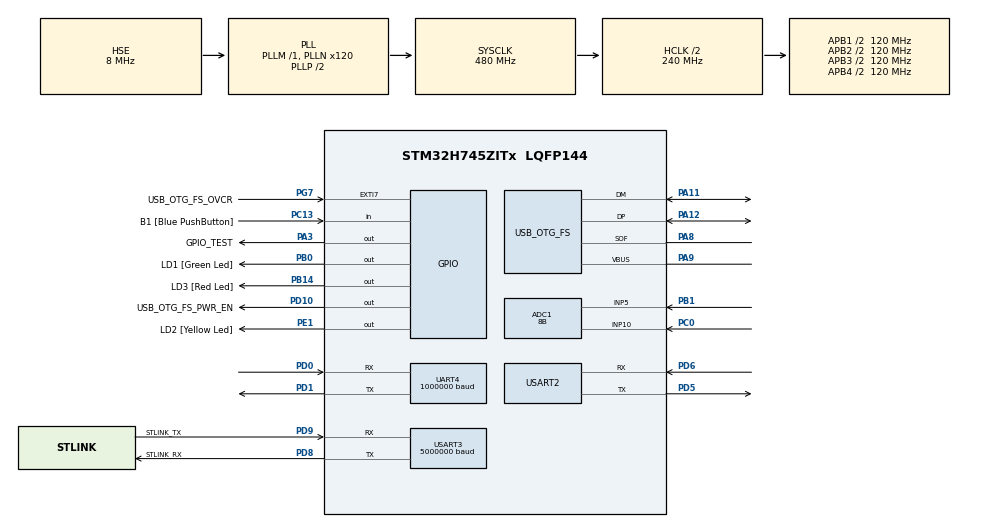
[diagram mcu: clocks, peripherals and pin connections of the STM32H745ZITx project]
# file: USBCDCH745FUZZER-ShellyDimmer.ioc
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ADC1.Channel-0\#ChannelRegularConversion=ADC_CHANNEL_10
ADC1.Channel-1\#ChannelRegularConversion=ADC_CHANNEL_5
ADC1.ClockPrescaler=ADC_CLOCK_ASYNC_DIV8
ADC1.ContinuousConvMode=ENABLE
ADC1.ConversionDataManagement=ADC_CONVERSIONDATA_DMA_ONESHOT
ADC1.NbrOfConversion=2
ADC1.NbrOfConversionFlag=1
ADC1.OffsetNumber-0\#ChannelRegularConversion=ADC_OFFSET_NONE
ADC1.OffsetNumber-1\#ChannelRegularConversion=ADC_OFFSET_NONE
ADC1.OffsetSignedSaturation-0\#ChannelRegularConversion=DISABLE
ADC1.Rank-0\#ChannelRegularConversion=1
ADC1.Rank-1\#ChannelRegularConversion=2
ADC1.Resolution=ADC_RESOLUTION_8B
ADC1.SamplingTime-0\#ChannelRegularConversion=ADC_SAMPLETIME_2CYCLES_5
ADC1.SamplingTime-1\#ChannelRegularConversion=ADC_SAMPLETIME_2CYCLES_5
ADC1.master=1
CORTEX_M7.MPU_Control=MPU_PRIVILEGED_DEFAULT
CRC.InputDataFormat=CRC_INPUTDATA_FORMAT_WORDS
CRC.InputDataInversionMode=CRC_INPUTDATA_INVERSION_WORD
CRC.OutputDataInversionMode=CRC_OUTPUTDATA_INVERSION_ENABLE
CortexM4.IPs=FATFS_M4\:I,FREERTOS_M4\:I,IWDG2\:I,RCC,WWDG2\:I,DMA,BDMA,MDMA,NVIC2\:I,USART3,DEBUG,USB_DEVICE_M4\:I,USB_HOST_M4\:I,PDM2PCM_M4\:I,PWR,RESMGR_UTILITY,SYS_M4\:I,CORTEX_M4\:I,OPENAMP_M4\:I,VREFBUF,TIM17\:I
CortexM7.IPs=FATFS_M7\:I,FREERTOS_M7\:I,IWDG1\:I,RCC\:I,WWDG1\:I,DMA\:I,BDMA\:I,MDMA\:I,NVIC1\:I,SYS\:I,USB_OTG_FS\:I,CORTEX_M7\:I,DEBUG\:I,USB_DEVICE_M7\:I,USB_HOST_M7\:I,PDM2PCM_M7\:I,PWR\:I,RESMGR_UTILITY\:I,OPENAMP_M7\:I,VREFBUF\:I,RNG\:I,CRC\:I,USART3\:I,TIM16\:I,USART2\:I,UART4\:I,TIM3\:I,ADC1\:I
CortexM7.Pins=PB0,PB14,PE1
Dma.ADC1.0.Direction=DMA_PERIPH_TO_MEMORY
Dma.ADC1.0.EventEnable=DISABLE
Dma.ADC1.0.FIFOMode=DMA_FIFOMODE_DISABLE
Dma.ADC1.0.Instance=DMA1_Stream2
Dma.ADC1.0.MemDataAlignment=DMA_MDATAALIGN_HALFWORD
Dma.ADC1.0.MemInc=DMA_MINC_ENABLE
Dma.ADC1.0.Mode=DMA_CIRCULAR
Dma.ADC1.0.PeriphDataAlignment=DMA_PDATAALIGN_HALFWORD
Dma.ADC1.0.PeriphInc=DMA_PINC_DISABLE
Dma.ADC1.0.Polarity=HAL_DMAMUX_REQ_GEN_RISING
Dma.ADC1.0.Priority=DMA_PRIORITY_LOW
Dma.ADC1.0.RequestNumber=1
Dma.ADC1.0.SignalID=NONE
Dma.ADC1.0.SyncEnable=DISABLE
Dma.ADC1.0.SyncPolarity=HAL_DMAMUX_SYNC_NO_EVENT
Dma.ADC1.0.SyncRequestNumber=1
Dma.ADC1.0.SyncSignalID=NONE
Dma.Request0=ADC1
Mcu.Family=STM32H7
Mcu.Name=STM32H745ZITx
Mcu.Package=LQFP144
NVIC1.DMA1_Stream2_IRQn=true\:0\:0\:false\:false\:true\:false\:true
NVIC1.FPU_IRQn=true\:0\:0\:false\:false\:true\:true\:false
NVIC1.HASH_RNG_IRQn=true\:0\:0\:false\:false\:true\:true\:true
NVIC1.OTG_FS_IRQn=true\:5\:0\:true\:false\:true\:false\:true
NVIC1.PriorityGroup=NVIC_PRIORITYGROUP_4
NVIC1.TIM16_IRQn=true\:0\:0\:true\:false\:true\:false\:true
NVIC1.TIM3_IRQn=true\:0\:0\:false\:false\:true\:true\:true
NVIC1.TimeBase=TIM16_IRQn
NVIC1.TimeBaseIP=TIM16
NVIC1.UART4_IRQn=true\:0\:0\:false\:false\:true\:true\:true
NVIC1.USART2_IRQn=true\:0\:0\:false\:false\:true\:true\:true
NVIC1.USART3_IRQn=true\:5\:0\:true\:false\:true\:true\:true
NVIC2.PriorityGroup=NVIC_PRIORITYGROUP_4
NVIC2.TIM17_IRQn=true\:15\:0\:false\:false\:true\:false\:true
NVIC2.TimeBase=TIM17_IRQn
NVIC2.TimeBaseIP=TIM17
PA1.PinAttribute=CortexM4
PA1.Signal=ETH_REF_CLK
PA11.Mode=Device_Only
PA11.PinAttribute=CortexM7
PA11.Signal=USB_OTG_FS_DM
PA12.Mode=Device_Only
PA12.PinAttribute=CortexM7
PA12.Signal=USB_OTG_FS_DP
PA2.PinAttribute=CortexM4
PA2.Signal=ETH_MDIO
PA3.GPIO_Label=GPIO_TEST
PA3.PinAttribute=Free
PA3.Signal=GPIO_Output
PA7.PinAttribute=CortexM4
PA7.Signal=ETH_CRS_DV
PA8.Mode=Activate_SOF_FS
PA8.PinAttribute=CortexM7
PA8.Signal=USB_OTG_FS_SOF
PA9.Mode=Activate_VBUS
PA9.PinAttribute=CortexM7
PA9.Signal=USB_OTG_FS_VBUS
PB0.GPIO_Label=LD1 [Green Led]
PB0.PinAttribute=CortexM7
PB0.Signal=GPIO_Output
PB1.PinAttribute=CortexM7
PB1.Signal=ADCx_INP5
PB13.PinAttribute=CortexM4
PB13.Signal=ETH_TXD1
PB14.GPIO_Label=LD3 [Red Led]
PB14.PinAttribute=CortexM7
PB14.Signal=GPIO_Output
PC0.PinAttribute=CortexM7
PC0.Signal=ADCx_INP10
PC1.PinAttribute=CortexM4
PC1.Signal=ETH_MDC
PC13.GPIO_Label=B1 [Blue PushButton]
PC13.PinAttribute=Free
PC13.Signal=GPIO_Input
PC14-OSC32_IN\ (OSC32_IN).Mode=LSE-External-Oscillator
PC14-OSC32_IN\ (OSC32_IN).PinAttribute=CortexM7
PC14-OSC32_IN\ (OSC32_IN).Signal=RCC_OSC32_IN
PC15-OSC32_OUT\ (OSC32_OUT).Mode=LSE-External-Oscillator
PC15-OSC32_OUT\ (OSC32_OUT).PinAttribute=CortexM7
PC15-OSC32_OUT\ (OSC32_OUT).Signal=RCC_OSC32_OUT
PC4.PinAttribute=CortexM4
PC4.Signal=ETH_RXD0
PC5.PinAttribute=CortexM4
PC5.Signal=ETH_RXD1
PD0.Mode=Asynchronous
PD0.PinAttribute=CortexM7
PD0.Signal=UART4_RX
PD1.Mode=Asynchronous
PD1.PinAttribute=CortexM7
PD1.Signal=UART4_TX
PD10.GPIO_Label=USB_OTG_FS_PWR_EN
PD10.PinAttribute=Free
PD10.Signal=GPIO_Output
PD5.Mode=Asynchronous
PD5.PinAttribute=CortexM7
PD5.Signal=USART2_TX
PD6.Mode=Asynchronous
PD6.PinAttribute=CortexM7
PD6.Signal=USART2_RX
PD8.GPIO_Label=STLINK_RX
PD8.Mode=Asynchronous
PD8.PinAttribute=CortexM7
PD8.Signal=USART3_TX
PD9.GPIO_Label=STLINK_TX
PD9.Mode=Asynchronous
PD9.PinAttribute=CortexM7
PD9.Signal=USART3_RX
PE1.GPIO_Label=LD2 [Yellow Led]
PE1.PinAttribute=CortexM7
PE1.Signal=GPIO_Output
PG11.PinAttribute=CortexM4
PG11.Signal=ETH_TX_EN
PG13.PinAttribute=CortexM4
PG13.Signal=ETH_TXD0
PG7.GPIO_Label=USB_OTG_FS_OVCR
PG7.PinAttribute=Free
PG7.Signal=GPXTI7
PH0-OSC_IN\ (PH0).Mode=HSE-External-Clock-Source
PH0-OSC_IN\ (PH0).PinAttribute=CortexM7
PH0-OSC_IN\ (PH0).Signal=RCC_OSC_IN
PH1-OSC_OUT\ (PH1).PinAttribute=CortexM7
PH1-OSC_OUT\ (PH1).Signal=RCC_OSC_OUT
ProjectManager.HeapSize=M4-0x200,M7-0x200
ProjectManager.StackSize=M4-0x400,M7-0x400
ProjectManager.TargetToolchain=STM32CubeIDE
RCC.ADCFreq_Value=76000000
RCC.APB1Freq_Value=120000000
RCC.APB2Freq_Value=120000000
RCC.APB3Freq_Value=120000000
RCC.APB4Freq_Value=120000000
RCC.CortexFreq_Value=480000000
RCC.D1PPRE=RCC_APB3_DIV2
RCC.D2PPRE1=RCC_APB1_DIV2
RCC.D2PPRE2=RCC_APB2_DIV2
RCC.D3PPRE=RCC_APB4_DIV2
RCC.DIVM1=1
RCC.DIVM2=1
RCC.DIVM3=1
RCC.DIVN1=120
RCC.DIVN2=19
RCC.DIVN3=24
RCC.DIVQ3=4
RCC.HCLKFreq_Value=240000000
RCC.HPRE=RCC_HCLK_DIV2
RCC.HSE_VALUE=8000000
RCC.PLL2FRACN=0
RCC.PLL3FRACN=0
RCC.PLLFRACN=0
RCC.SYSCLKFreq_VALUE=480000000
RCC.SYSCLKSource=RCC_SYSCLKSOURCE_PLLCLK
RCC.SupplySource=PWR_DIRECT_SMPS_SUPPLY
RCC.USBCLockSelection=RCC_USBCLKSOURCE_PLL3
RCC.USBFreq_Value=48000000
SH.ADCx_INP10.0=ADC1_INP10,IN10-Single-Ended
SH.ADCx_INP5.0=ADC1_INP5,IN5-Single-Ended
TIM3.AutoReloadPreload=TIM_AUTORELOAD_PRELOAD_ENABLE
TIM3.Channel-Output\ Compare1\ No\ Output=TIM_CHANNEL_1
TIM3.Period=10
TIM3.Prescaler=4800
TIM3.Pulse-Output\ Compare1\ No\ Output=5
UART4.BaudRate=1000000
USART2.VirtualMode-Asynchronous=VM_ASYNC
USART3.BaudRate=5000000
USART3.FIFOMode=FIFOMODE_DISABLE
USART3.OverSampling=UART_OVERSAMPLING_8
USART3.VirtualMode-Asynchronous=VM_ASYNC
USB_DEVICE_M7.APP_RX_DATA_SIZE-CDC_FS=2048
USB_DEVICE_M7.CLASS_NAME_FS=CDC
USB_DEVICE_M7.VirtualMode-CDC_FS=Cdc
USB_DEVICE_M7.VirtualModeFS=Cdc_FS
USB_OTG_FS.VirtualMode=Device_Only
VP_CRC_VS_CRC.Mode=CRC_Activate
VP_RNG_VS_RNG.Mode=RNG_Activate
VP_SYS_M4_VS_tim17.Mode=TIM17
VP_SYS_VS_tim16.Mode=TIM16
VP_TIM3_VS_ClockSourceINT.Mode=Internal
VP_TIM3_VS_no_output1.Mode=Output Compare1 No Output
VP_USB_DEVICE_M7_VS_USB_DEVICE_CDC_FS.Mode=CDC_FS
board=NUCLEO-H745ZI-Q

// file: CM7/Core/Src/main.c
/* USER CODE BEGIN Header */
/**
  ******************************************************************************
  * @file           : main.c
  * @brief          : Main program body
  ******************************************************************************
  * @attention
  *
  * <h2><center>&copy; Copyright (c) 2021 STMicroelectronics.
  * All rights reserved.</center></h2>
  *
  * This software component is licensed by ST under BSD 3-Clause license,
  * the "License"; You may not use this file except in compliance with the
  * License. You may obtain a copy of the License at:
  *                        opensource.org/licenses/BSD-3-Clause
  *
  ******************************************************************************
  */
/* USER CODE END Header */
#include "main.h"

/* USER CODE BEGIN Includes */
#include "fuzzing.h"
#include "app_main.h"
#include "string.h"
#include "stdlib.h"
#include "stdio.h"
#include "shelly.h"
/* USER CODE END Includes */

/* USER CODE BEGIN PTD */
void led_init(void);
//volatile uint16_t *aflbitmap;

/*
RingBuffer_t inputAFL;
volatile uint32_t inputLength;
volatile bool bRXcomplete;  // variable must be declared as volatile otherwise the compiler may optimize out it
volatile bool bTXcomplete;
volatile uint16_t previousGuard;
volatile uint32_t timespan;
volatile uint16_t aflbitmap[AFL_BITMAP_SIZE];
uint8_t aflheader[8];
tuple_t  afldiff [AFL_BITMAP_SIZE/2];
uint16_t indexdif = 0;
extern USBD_HandleTypeDef hUsbDeviceFS;
*/

/* USER CODE END PTD */

/* USER CODE BEGIN PD */

#ifndef HSEM_ID_0
#define HSEM_ID_0 (0U) /* HW semaphore 0*/
#endif

//volatile uint8_t * buf2;
volatile uint32_t testextern;
//extern uint32_t __user_heap_start__[];

extern uint32_t __user_heap_start__[];

/* USER CODE END PD */

ADC_HandleTypeDef hadc1;
DMA_HandleTypeDef hdma_adc1;

CRC_HandleTypeDef hcrc;

RNG_HandleTypeDef hrng;

TIM_HandleTypeDef htim3;

UART_HandleTypeDef huart4;
UART_HandleTypeDef huart2;
UART_HandleTypeDef huart3;

void SystemClock_Config(void);
static void MPU_Config(void);
static void MX_GPIO_Init(void);
static void MX_USART3_UART_Init(void);
static void MX_RNG_Init(void);
static void MX_DMA_Init(void);
static void MX_CRC_Init(void);
static void MX_UART4_Init(void);
static void MX_USART2_UART_Init(void);
static void MX_TIM3_Init(void);
static void MX_ADC1_Init(void);
/* USER CODE BEGIN PFP */
void __io_putchar(uint8_t ch) {
HAL_UART_Transmit(&huart3, &ch, 1, 1);
}
/* USER CODE END PFP */

int main(void)
{
  /* USER CODE BEGIN 1 */
	//SCB_InvalidateICache();
	SCB_EnableICache();

	//SCB_EnableDCache();
	//SCB_InvalidateDCache();Common/Fuzzing/Src/fault_handlersRTOS.c
  /* USER CODE END 1 */
/* USER CODE BEGIN Boot_Mode_Sequence_0 */
  int32_t timeout;
/* USER CODE END Boot_Mode_Sequence_0 */

  /* MPU Configuration--------------------------------------------------------*/
  MPU_Config();

/* USER CODE BEGIN Boot_Mode_Sequence_1 */
  /* Wait until CPU2 boots and enters in stop mode or timeout*/
  timeout = 0xFFFF;
  while((__HAL_RCC_GET_FLAG(RCC_FLAG_D2CKRDY) != RESET) && (timeout-- > 0));
  if ( timeout < 0 )
  {
  //Error_Handler();
  }
/* USER CODE END Boot_Mode_Sequence_1 */
  /* MCU Configuration--------------------------------------------------------*/

  /* Reset of all peripherals, Initializes the Flash interface and the Systick. */
  HAL_Init();

  /* USER CODE BEGIN Init */

  activateCortexMtraps();

  /* USER CODE END Init */

  /* Configure the system clock */
  SystemClock_Config();
/* USER CODE BEGIN Boot_Mode_Sequence_2 */
/* When system initialization is finished, Cortex-M7 will release Cortex-M4 by means of
HSEM notification */
/*HW semaphore Clock enable*/
__HAL_RCC_HSEM_CLK_ENABLE();
/*Take HSEM */
HAL_HSEM_FastTake(HSEM_ID_0);
/*Release HSEM in order to notify the CPU2(CM4)*/
HAL_HSEM_Release(HSEM_ID_0,0);
/* wait until CPU2 wakes up from stop mode */
timeout = 0xFFFF;
while((__HAL_RCC_GET_FLAG(RCC_FLAG_D2CKRDY) == RESET) && (timeout-- > 0));
if ( timeout < 0 )
{
//Error_Handler();
}
/* USER CODE END Boot_Mode_Sequence_2 */

  /* Initialize all configured peripherals */
  MX_GPIO_Init();
  MX_USART3_UART_Init();
  MX_RNG_Init();
  MX_DMA_Init();
  MX_CRC_Init();
  MX_UART4_Init();
  MX_USART2_UART_Init();
  MX_TIM3_Init();
  MX_ADC1_Init();
  /* USER CODE BEGIN 2 */

  HAL_TIM_Base_Start_IT(&htim3); //initialize the timer that checks ADC conversion

  led_init();

#if DUALCOREFUZZ == 0
//uint16_t *paflbitmap =  (uint16_t *)DTCMRAMORIGIN;  // this requires initialization
//memset((void* )paflbitmap ,0, AFL_BITMAP_SIZE_BYTES);

#endif

  // call RTOS initialization routines

  //buf2=malloc(32);

  testextern = (uint32_t)__user_heap_start__;

  app_main();

  // it should never reach beyond this point since the RTOS kernel is in execution at this point

//uint8_t test1[] = "test1\n";
  /* USER CODE END 2 */

  /* Infinite loop */
  /* USER CODE BEGIN WHILE */
  while (1)
  {

	  //HAL_UART_Transmit_DMA(&huart3, test1, sizeof(test1));
	  //HAL_Delay(50);
	  //FuzzingTestWrapper();

    /* USER CODE END WHILE */

  }
}

void SystemClock_Config(void)
{
  RCC_OscInitTypeDef RCC_OscInitStruct = {0};
  RCC_ClkInitTypeDef RCC_ClkInitStruct = {0};

  /** Supply configuration update enable
  */
  HAL_PWREx_ConfigSupply(PWR_DIRECT_SMPS_SUPPLY);
  /** Configure the main internal regulator output voltage
  */
  __HAL_PWR_VOLTAGESCALING_CONFIG(PWR_REGULATOR_VOLTAGE_SCALE0);

  while(!__HAL_PWR_GET_FLAG(PWR_FLAG_VOSRDY)) {}
  /** Macro to configure the PLL clock source
  */
  __HAL_RCC_PLL_PLLSOURCE_CONFIG(RCC_PLLSOURCE_HSE);
  /** Initializes the RCC Oscillators according to the specified parameters
  * in the RCC_OscInitTypeDef structure.
  */
  RCC_OscInitStruct.OscillatorType = RCC_OSCILLATORTYPE_HSI48|RCC_OSCILLATORTYPE_HSE;
  RCC_OscInitStruct.HSEState = RCC_HSE_BYPASS;
  RCC_OscInitStruct.HSI48State = RCC_HSI48_ON;
  RCC_OscInitStruct.PLL.PLLState = RCC_PLL_ON;
  RCC_OscInitStruct.PLL.PLLSource = RCC_PLLSOURCE_HSE;
  RCC_OscInitStruct.PLL.PLLM = 1;
  RCC_OscInitStruct.PLL.PLLN = 120;
  RCC_OscInitStruct.PLL.PLLP = 2;
  RCC_OscInitStruct.PLL.PLLQ = 2;
  RCC_OscInitStruct.PLL.PLLR = 2;
  RCC_OscInitStruct.PLL.PLLRGE = RCC_PLL1VCIRANGE_3;
  RCC_OscInitStruct.PLL.PLLVCOSEL = RCC_PLL1VCOWIDE;
  RCC_OscInitStruct.PLL.PLLFRACN = 0;
  if (HAL_RCC_OscConfig(&RCC_OscInitStruct) != HAL_OK)
  {
    Error_Handler();
  }
  /** Initializes the CPU, AHB and APB buses clocks
  */
  RCC_ClkInitStruct.ClockType = RCC_CLOCKTYPE_HCLK|RCC_CLOCKTYPE_SYSCLK
                              |RCC_CLOCKTYPE_PCLK1|RCC_CLOCKTYPE_PCLK2
                              |RCC_CLOCKTYPE_D3PCLK1|RCC_CLOCKTYPE_D1PCLK1;
  RCC_ClkInitStruct.SYSCLKSource = RCC_SYSCLKSOURCE_PLLCLK;
  RCC_ClkInitStruct.SYSCLKDivider = RCC_SYSCLK_DIV1;
  RCC_ClkInitStruct.AHBCLKDivider = RCC_HCLK_DIV2;
  RCC_ClkInitStruct.APB3CLKDivider = RCC_APB3_DIV2;
  RCC_ClkInitStruct.APB1CLKDivider = RCC_APB1_DIV2;
  RCC_ClkInitStruct.APB2CLKDivider = RCC_APB2_DIV2;
  RCC_ClkInitStruct.APB4CLKDivider = RCC_APB4_DIV2;

  if (HAL_RCC_ClockConfig(&RCC_ClkInitStruct, FLASH_LATENCY_4) != HAL_OK)
  {
    Error_Handler();
  }
}

static void MX_ADC1_Init(void)
{

  ADC_MultiModeTypeDef multimode = {0};
  ADC_ChannelConfTypeDef sConfig = {0};

  /** Common config
  */
  hadc1.Instance = ADC1;
  hadc1.Init.ClockPrescaler = ADC_CLOCK_ASYNC_DIV8;
  hadc1.Init.Resolution = ADC_RESOLUTION_8B;
  hadc1.Init.ScanConvMode = ADC_SCAN_ENABLE;
  hadc1.Init.EOCSelection = ADC_EOC_SINGLE_CONV;
  hadc1.Init.LowPowerAutoWait = DISABLE;
  hadc1.Init.ContinuousConvMode = ENABLE;
  hadc1.Init.NbrOfConversion = 2;
  hadc1.Init.DiscontinuousConvMode = DISABLE;
  hadc1.Init.ExternalTrigConv = ADC_SOFTWARE_START;
  hadc1.Init.ExternalTrigConvEdge = ADC_EXTERNALTRIGCONVEDGE_NONE;
  hadc1.Init.ConversionDataManagement = ADC_CONVERSIONDATA_DMA_ONESHOT;
  hadc1.Init.Overrun = ADC_OVR_DATA_PRESERVED;
  hadc1.Init.LeftBitShift = ADC_LEFTBITSHIFT_NONE;
  hadc1.Init.OversamplingMode = DISABLE;
  if (HAL_ADC_Init(&hadc1) != HAL_OK)
  {
    Error_Handler();
  }
  /** Configure the ADC multi-mode
  */
  multimode.Mode = ADC_MODE_INDEPENDENT;
  if (HAL_ADCEx_MultiModeConfigChannel(&hadc1, &multimode) != HAL_OK)
  {
    Error_Handler();
  }
  /** Configure Regular Channel
  */
  sConfig.Channel = ADC_CHANNEL_10;
  sConfig.Rank = ADC_REGULAR_RANK_1;
  sConfig.SamplingTime = ADC_SAMPLETIME_2CYCLES_5;
  sConfig.SingleDiff = ADC_SINGLE_ENDED;
  sConfig.OffsetNumber = ADC_OFFSET_NONE;
  sConfig.Offset = 0;
  sConfig.OffsetSignedSaturation = DISABLE;
  if (HAL_ADC_ConfigChannel(&hadc1, &sConfig) != HAL_OK)
  {
    Error_Handler();
  }
  /** Configure Regular Channel
  */
  sConfig.Channel = ADC_CHANNEL_5;
  sConfig.Rank = ADC_REGULAR_RANK_2;
  if (HAL_ADC_ConfigChannel(&hadc1, &sConfig) != HAL_OK)
  {
    Error_Handler();
  }

}

static void MX_CRC_Init(void)
{

  hcrc.Instance = CRC;
  hcrc.Init.DefaultPolynomialUse = DEFAULT_POLYNOMIAL_ENABLE;
  hcrc.Init.DefaultInitValueUse = DEFAULT_INIT_VALUE_ENABLE;
  hcrc.Init.InputDataInversionMode = CRC_INPUTDATA_INVERSION_WORD;
  hcrc.Init.OutputDataInversionMode = CRC_OUTPUTDATA_INVERSION_ENABLE;
  hcrc.InputDataFormat = CRC_INPUTDATA_FORMAT_WORDS;
  if (HAL_CRC_Init(&hcrc) != HAL_OK)
  {
    Error_Handler();
  }

}

static void MX_RNG_Init(void)
{

  hrng.Instance = RNG;
  hrng.Init.ClockErrorDetection = RNG_CED_ENABLE;
  if (HAL_RNG_Init(&hrng) != HAL_OK)
  {
    Error_Handler();
  }

}

static void MX_TIM3_Init(void)
{

  TIM_ClockConfigTypeDef sClockSourceConfig = {0};
  TIM_MasterConfigTypeDef sMasterConfig = {0};
  TIM_OC_InitTypeDef sConfigOC = {0};

  htim3.Instance = TIM3;
  htim3.Init.Prescaler = 4800;
  htim3.Init.CounterMode = TIM_COUNTERMODE_UP;
  htim3.Init.Period = 10;
  htim3.Init.ClockDivision = TIM_CLOCKDIVISION_DIV1;
  htim3.Init.AutoReloadPreload = TIM_AUTORELOAD_PRELOAD_ENABLE;
  if (HAL_TIM_Base_Init(&htim3) != HAL_OK)
  {
    Error_Handler();
  }
  sClockSourceConfig.ClockSource = TIM_CLOCKSOURCE_INTERNAL;
  if (HAL_TIM_ConfigClockSource(&htim3, &sClockSourceConfig) != HAL_OK)
  {
    Error_Handler();
  }
  if (HAL_TIM_OC_Init(&htim3) != HAL_OK)
  {
    Error_Handler();
  }
  sMasterConfig.MasterOutputTrigger = TIM_TRGO_RESET;
  sMasterConfig.MasterSlaveMode = TIM_MASTERSLAVEMODE_DISABLE;
  if (HAL_TIMEx_MasterConfigSynchronization(&htim3, &sMasterConfig) != HAL_OK)
  {
    Error_Handler();
  }
  sConfigOC.OCMode = TIM_OCMODE_TIMING;
  sConfigOC.Pulse = 5;
  sConfigOC.OCPolarity = TIM_OCPOLARITY_HIGH;
  sConfigOC.OCFastMode = TIM_OCFAST_DISABLE;
  if (HAL_TIM_OC_ConfigChannel(&htim3, &sConfigOC, TIM_CHANNEL_1) != HAL_OK)
  {
    Error_Handler();
  }

}

static void MX_UART4_Init(void)
{

  huart4.Instance = UART4;
  huart4.Init.BaudRate = 1000000;
  huart4.Init.WordLength = UART_WORDLENGTH_8B;
  huart4.Init.StopBits = UART_STOPBITS_1;
  huart4.Init.Parity = UART_PARITY_NONE;
  huart4.Init.Mode = UART_MODE_TX_RX;
  huart4.Init.HwFlowCtl = UART_HWCONTROL_NONE;
  huart4.Init.OverSampling = UART_OVERSAMPLING_16;
  huart4.Init.OneBitSampling = UART_ONE_BIT_SAMPLE_DISABLE;
  huart4.Init.ClockPrescaler = UART_PRESCALER_DIV1;
  huart4.AdvancedInit.AdvFeatureInit = UART_ADVFEATURE_NO_INIT;
  if (HAL_UART_Init(&huart4) != HAL_OK)
  {
    Error_Handler();
  }
  if (HAL_UARTEx_SetTxFifoThreshold(&huart4, UART_TXFIFO_THRESHOLD_1_8) != HAL_OK)
  {
    Error_Handler();
  }
  if (HAL_UARTEx_SetRxFifoThreshold(&huart4, UART_RXFIFO_THRESHOLD_1_8) != HAL_OK)
  {
    Error_Handler();
  }
  if (HAL_UARTEx_DisableFifoMode(&huart4) != HAL_OK)
  {
    Error_Handler();
  }

}

static void MX_USART2_UART_Init(void)
{

  huart2.Instance = USART2;
  huart2.Init.BaudRate = 115200;
  huart2.Init.WordLength = UART_WORDLENGTH_8B;
  huart2.Init.StopBits = UART_STOPBITS_1;
  huart2.Init.Parity = UART_PARITY_NONE;
  huart2.Init.Mode = UART_MODE_TX_RX;
  huart2.Init.HwFlowCtl = UART_HWCONTROL_NONE;
  huart2.Init.OverSampling = UART_OVERSAMPLING_16;
  huart2.Init.OneBitSampling = UART_ONE_BIT_SAMPLE_DISABLE;
  huart2.Init.ClockPrescaler = UART_PRESCALER_DIV1;
  huart2.AdvancedInit.AdvFeatureInit = UART_ADVFEATURE_NO_INIT;
  if (HAL_UART_Init(&huart2) != HAL_OK)
  {
    Error_Handler();
  }
  if (HAL_UARTEx_SetTxFifoThreshold(&huart2, UART_TXFIFO_THRESHOLD_1_8) != HAL_OK)
  {
    Error_Handler();
  }
  if (HAL_UARTEx_SetRxFifoThreshold(&huart2, UART_RXFIFO_THRESHOLD_1_8) != HAL_OK)
  {
    Error_Handler();
  }
  if (HAL_UARTEx_DisableFifoMode(&huart2) != HAL_OK)
  {
    Error_Handler();
  }

}

static void MX_USART3_UART_Init(void)
{

  huart3.Instance = USART3;
  huart3.Init.BaudRate = 5000000;
  huart3.Init.WordLength = UART_WORDLENGTH_8B;
  huart3.Init.StopBits = UART_STOPBITS_1;
  huart3.Init.Parity = UART_PARITY_NONE;
  huart3.Init.Mode = UART_MODE_TX_RX;
  huart3.Init.HwFlowCtl = UART_HWCONTROL_NONE;
  huart3.Init.OverSampling = UART_OVERSAMPLING_8;
  huart3.Init.OneBitSampling = UART_ONE_BIT_SAMPLE_DISABLE;
  huart3.Init.ClockPrescaler = UART_PRESCALER_DIV1;
  huart3.AdvancedInit.AdvFeatureInit = UART_ADVFEATURE_NO_INIT;
  if (HAL_UART_Init(&huart3) != HAL_OK)
  {
    Error_Handler();
  }
  if (HAL_UARTEx_SetTxFifoThreshold(&huart3, UART_TXFIFO_THRESHOLD_1_8) != HAL_OK)
  {
    Error_Handler();
  }
  if (HAL_UARTEx_SetRxFifoThreshold(&huart3, UART_RXFIFO_THRESHOLD_1_8) != HAL_OK)
  {
    Error_Handler();
  }
  if (HAL_UARTEx_DisableFifoMode(&huart3) != HAL_OK)
  {
    Error_Handler();
  }

}

static void MX_DMA_Init(void)
{

  /* DMA controller clock enable */
  __HAL_RCC_DMA1_CLK_ENABLE();

  /* DMA interrupt init */
  /* DMA1_Stream2_IRQn interrupt configuration */
  HAL_NVIC_SetPriority(DMA1_Stream2_IRQn, 0, 0);
  HAL_NVIC_EnableIRQ(DMA1_Stream2_IRQn);

}

static void MX_GPIO_Init(void)
{
  GPIO_InitTypeDef GPIO_InitStruct = {0};

  /* GPIO Ports Clock Enable */
  __HAL_RCC_GPIOC_CLK_ENABLE();
  __HAL_RCC_GPIOH_CLK_ENABLE();
  __HAL_RCC_GPIOB_CLK_ENABLE();
  __HAL_RCC_GPIOD_CLK_ENABLE();
  __HAL_RCC_GPIOA_CLK_ENABLE();
  __HAL_RCC_GPIOE_CLK_ENABLE();

  /*Configure GPIO pin Output Level */
  HAL_GPIO_WritePin(GPIOB, LD1_Pin|LD3_Pin, GPIO_PIN_RESET);

  /*Configure GPIO pin Output Level */
  HAL_GPIO_WritePin(LD2_GPIO_Port, LD2_Pin, GPIO_PIN_RESET);

  /*Configure GPIO pins : LD1_Pin LD3_Pin */
  GPIO_InitStruct.Pin = LD1_Pin|LD3_Pin;
  GPIO_InitStruct.Mode = GPIO_MODE_OUTPUT_PP;
  GPIO_InitStruct.Pull = GPIO_NOPULL;
  GPIO_InitStruct.Speed = GPIO_SPEED_FREQ_LOW;
  HAL_GPIO_Init(GPIOB, &GPIO_InitStruct);

  /*Configure GPIO pin : LD2_Pin */
  GPIO_InitStruct.Pin = LD2_Pin;
  GPIO_InitStruct.Mode = GPIO_MODE_OUTPUT_PP;
  GPIO_InitStruct.Pull = GPIO_NOPULL;
  GPIO_InitStruct.Speed = GPIO_SPEED_FREQ_LOW;
  HAL_GPIO_Init(LD2_GPIO_Port, &GPIO_InitStruct);

}

/* USER CODE BEGIN 4 */
void led_init(void) {

	__HAL_RCC_GPIOB_CLK_ENABLE();
    GPIO_InitTypeDef GPIO_InitStruct = {0};

    LD1_GPIO_CLK_EN();

    GPIO_InitStruct.Pin = LD1_GPIO_PIN;
    GPIO_InitStruct.Mode = GPIO_MODE_OUTPUT_PP;
    GPIO_InitStruct.Pull = GPIO_NOPULL;
    GPIO_InitStruct.Speed = GPIO_SPEED_FREQ_LOW;
    HAL_GPIO_Init(LD1_GPIO_PORT, &GPIO_InitStruct);
}
/* USER CODE END 4 */

/* MPU Configuration */

void MPU_Config(void)
{

  /* Disables the MPU */
  HAL_MPU_Disable();
  /* Enables the MPU */
  HAL_MPU_Enable(MPU_PRIVILEGED_DEFAULT);

}

void HAL_TIM_PeriodElapsedCallback(TIM_HandleTypeDef *htim)
{
  if (htim->Instance == TIM16) {
    HAL_IncTick();
  }
  /* USER CODE BEGIN Callback 1 */

  // Check which version of the timer triggered this callback and toggle LED
  if (htim == &htim3)
  {
	  tim3_isr();
  }

  /* USER CODE END Callback 1 */
}

void Error_Handler(void)
{
  __disable_irq();
  while (1)
  {
  }
}

/************************ (C) COPYRIGHT STMicroelectronics *****END OF FILE****/
